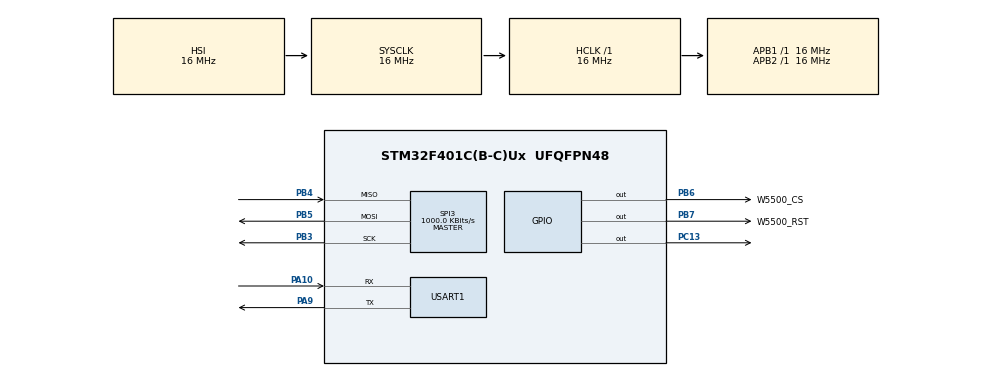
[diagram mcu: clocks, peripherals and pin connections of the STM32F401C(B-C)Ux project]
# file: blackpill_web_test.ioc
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Mcu.Family=STM32F4
Mcu.Name=STM32F401C(B-C)Ux
Mcu.Package=UFQFPN48
NVIC.PriorityGroup=NVIC_PRIORITYGROUP_4
NVIC.USART1_IRQn=true\:0\:0\:false\:false\:true\:true\:true\:true
PA10.Mode=Asynchronous
PA10.Signal=USART1_RX
PA13.Mode=Serial_Wire
PA13.Signal=SYS_JTMS-SWDIO
PA14.Mode=Serial_Wire
PA14.Signal=SYS_JTCK-SWCLK
PA9.Mode=Asynchronous
PA9.Signal=USART1_TX
PB3.Mode=Full_Duplex_Master
PB3.Signal=SPI3_SCK
PB4.Mode=Full_Duplex_Master
PB4.Signal=SPI3_MISO
PB5.Mode=Full_Duplex_Master
PB5.Signal=SPI3_MOSI
PB6.GPIO_Label=W5500_CS
PB6.GPIO_PuPd=GPIO_PULLUP
PB6.PinState=GPIO_PIN_SET
PB6.Signal=GPIO_Output
PB7.GPIO_Label=W5500_RST
PB7.GPIO_PuPd=GPIO_PULLUP
PB7.PinState=GPIO_PIN_SET
PB7.Signal=GPIO_Output
PC13-ANTI_TAMP.Signal=GPIO_Output
ProjectManager.HeapSize=0x200
ProjectManager.StackSize=0x400
ProjectManager.TargetToolchain=STM32CubeIDE
RCC.AHBFreq_Value=16000000
RCC.APB1Freq_Value=16000000
RCC.APB2Freq_Value=16000000
RCC.CortexFreq_Value=16000000
RCC.HSE_VALUE=25000000
RCC.HSI_VALUE=16000000
RCC.LSE_VALUE=32768
RCC.SYSCLKFreq_VALUE=16000000
RCC.VCOOutputFreq_Value=192000000
SPI3.BaudRatePrescaler=SPI_BAUDRATEPRESCALER_16
SPI3.CalculateBaudRate=1000.0 KBits/s
SPI3.Direction=SPI_DIRECTION_2LINES
SPI3.Mode=SPI_MODE_MASTER
SPI3.VirtualType=VM_MASTER
USART1.VirtualMode=VM_ASYNC
board=custom

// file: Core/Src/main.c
/* USER CODE BEGIN Header */
/**
  ******************************************************************************
  * @file           : main.c
  * @brief          : Main program body
  ******************************************************************************
  * @attention
  *
  * Copyright (c) 2026 STMicroelectronics.
  * All rights reserved.
  *
  * This software is licensed under terms that can be found in the LICENSE file
  * in the root directory of this software component.
  * If no LICENSE file comes with this software, it is provided AS-IS.
  *
  ******************************************************************************
  */
/* USER CODE END Header */
#include "main.h"

/* USER CODE BEGIN Includes */

#include "wizchip_conf.h"
#include "w5500/w5500.h"
#include "socket.h"
#include <string.h>
#include <stdio.h>
/* USER CODE END Includes */

SPI_HandleTypeDef hspi3;

UART_HandleTypeDef huart1;

/* USER CODE BEGIN PV */

uint8_t rxByte;
char uartBuf[128];
volatile uint16_t uartPos = 0;

char uartText[128] = "No UART data";

volatile uint8_t w5500_version = 0;

/* USER CODE END PV */

void SystemClock_Config(void);
static void MX_GPIO_Init(void);
static void MX_SPI3_Init(void);
static void MX_USART1_UART_Init(void);

/* USER CODE BEGIN 0 */

uint8_t W5500_ReadVersion(void)
{
    uint8_t tx[3];
    uint8_t version = 0;

    tx[0] = 0x00;
    tx[1] = 0x39;
    tx[2] = 0x00;

    HAL_GPIO_WritePin(GPIOB, GPIO_PIN_6, GPIO_PIN_RESET);

    HAL_SPI_Transmit(&hspi3, tx, 3, HAL_MAX_DELAY);
    HAL_SPI_Receive(&hspi3, &version, 1, HAL_MAX_DELAY);

    HAL_GPIO_WritePin(GPIOB, GPIO_PIN_6, GPIO_PIN_SET);

    return version;
}

static void W5500_Select(void)
{
    HAL_GPIO_WritePin(W5500_CS_GPIO_Port,
                      W5500_CS_Pin,
                      GPIO_PIN_RESET);
}

static void W5500_Deselect(void)
{
    HAL_GPIO_WritePin(W5500_CS_GPIO_Port,
                      W5500_CS_Pin,
                      GPIO_PIN_SET);
}

static uint8_t W5500_ReadByte(void)
{
    uint8_t tx = 0xFF;
    uint8_t rx = 0;

    HAL_SPI_TransmitReceive(&hspi3,
                           &tx,
                           &rx,
                           1,
                           HAL_MAX_DELAY);

    return rx;
}

static void W5500_WriteByte(uint8_t byte)
{
    HAL_SPI_Transmit(&hspi3,
                     &byte,
                     1,
                     HAL_MAX_DELAY);
}

static void W5500_Init(void)
{
    HAL_GPIO_WritePin(W5500_CS_GPIO_Port,
                      W5500_CS_Pin,
                      GPIO_PIN_SET);

    HAL_GPIO_WritePin(W5500_RST_GPIO_Port,
                      W5500_RST_Pin,
                      GPIO_PIN_RESET);

    HAL_Delay(10);

    HAL_GPIO_WritePin(W5500_RST_GPIO_Port,
                      W5500_RST_Pin,
                      GPIO_PIN_SET);

    HAL_Delay(100);

    reg_wizchip_cs_cbfunc(W5500_Select, W5500_Deselect);
    reg_wizchip_spi_cbfunc(W5500_ReadByte, W5500_WriteByte);

    uint8_t tx_size[8] = {4,2,2,2,2,2,2,0};
    uint8_t rx_size[8] = {2,2,2,2,2,2,2,2};

    wizchip_init(tx_size, rx_size);

    wiz_NetInfo netInfo = {
        .mac  = {0x00, 0x08, 0xDC, 0x12, 0x34, 0x56},
        .ip   = {192, 168, 1, 177},
        .sn   = {255, 255, 255, 0},
        .gw   = {192, 168, 1, 1},
        .dns  = {8, 8, 8, 8},
        .dhcp = NETINFO_STATIC
    };

    wizchip_setnetinfo(&netInfo);
}

static uint8_t rx_buffer[512];

static const char web_page[] =
"<!DOCTYPE html>"
"<html>"
"<head>"
"<meta charset='UTF-8'>"
"<meta name='viewport' content='width=device-width,initial-scale=1'>"
"<title>BUREVII BMS</title>"

"<style>"
"body{margin:0;background:#111827;color:#e5e7eb;font-family:Arial,sans-serif;}"
".wrap{max-width:900px;margin:40px auto;padding:20px;}"
"h1{margin-bottom:5px;}"
".sub{color:#9ca3af;margin-bottom:25px;}"
".dot{display:inline-block;width:10px;height:10px;border-radius:50%;"
"background:#22c55e;margin-right:8px;}"

".card{background:#1f2937;border-radius:14px;padding:22px;margin-bottom:16px;"
"box-shadow:0 4px 15px rgba(0,0,0,.25);}"

".label{font-size:14px;color:#9ca3af;}"
".voltage{font-size:48px;font-weight:bold;margin-top:8px;}"
".unit{font-size:24px;color:#9ca3af;}"

"canvas{width:100%;height:300px;display:block;margin-top:20px;}"
"#time{font-size:13px;color:#9ca3af;margin-top:10px;}"
"</style>"
"</head>"

"<body>"
"<div class='wrap'>"

"<h1>BUREVII</h1>"
"<div class='sub'><span class='dot'></span>BMS monitor online</div>"

"<div class='card'>"
"<div class='label'>BATTERY VOLTAGE</div>"
"<div class='voltage'>"
"<span id='voltage'>--.--</span>"
"<span class='unit'> V</span>"
"</div>"
"<div id='time'></div>"
"</div>"

"<div class='card'>"
"<div class='label'>VOLTAGE HISTORY</div>"
"<canvas id='chart'></canvas>"
"</div>"

"</div>"

"<script>"

"const canvas=document.getElementById('chart');"
"const ctx=canvas.getContext('2d');"

"let values=[];"
"const maxPoints=60;"

"function drawChart(){"

" canvas.width=canvas.clientWidth;"
" canvas.height=300;"

" const w=canvas.width;"
" const h=canvas.height;"

" const minV=48;"
" const maxV=54;"

" ctx.clearRect(0,0,w,h);"

" ctx.strokeStyle='#374151';"
" ctx.lineWidth=1;"

" for(let i=0;i<=6;i++){"
"   let y=i*h/6;"
"   ctx.beginPath();"
"   ctx.moveTo(0,y);"
"   ctx.lineTo(w,y);"
"   ctx.stroke();"
" }"

" if(values.length<2)return;"

" ctx.strokeStyle='#22c55e';"
" ctx.lineWidth=3;"
" ctx.beginPath();"

" values.forEach((v,i)=>{"

"   const x=i*(w/(maxPoints-1));"
"   const y=h-(v-minV)/(maxV-minV)*h;"

"   if(i===0)ctx.moveTo(x,y);"
"   else ctx.lineTo(x,y);"

" });"

" ctx.stroke();"
"}"

"async function updateData(){"

" try{"

"   const response=await fetch('/data',{cache:'no-store'});"
"   const text=await response.text();"

"   if(text.startsWith('V:')){"

"     const v=parseFloat(text.substring(2));"

"     if(!isNaN(v)){"

"       document.getElementById('voltage').textContent=v.toFixed(2);"

"       values.push(v);"

"       if(values.length>maxPoints)"
"         values.shift();"

"       drawChart();"

"       document.getElementById('time').textContent="
"         'Updated: '+new Date().toLocaleTimeString();"
"     }"
"   }"

" }catch(e){}"
"}"

"updateData();"
"setInterval(updateData,500);"

"</script>"

"</body>"
"</html>";

static void WebServer_Run(void)
{
    uint8_t sn = 0;

    switch (getSn_SR(sn))
    {
        case SOCK_CLOSED:
            socket(sn, Sn_MR_TCP, 80, 0);
            break;

        case SOCK_INIT:
            listen(sn);
            break;

        case SOCK_ESTABLISHED:
        {
            uint16_t len = getSn_RX_RSR(sn);

            if (len > 0)
            {
                if (len >= sizeof(rx_buffer))
                    len = sizeof(rx_buffer) - 1;

                int32_t received = recv(sn, rx_buffer, len);

                if (received > 0)
                {
                    rx_buffer[received] = '\0';

                    /* запит актуальних UART-даних */
                    if (strncmp((char *)rx_buffer, "GET /data ", 10) == 0)
                    {
                        char response[256];

                        int n = snprintf(
                            response,
                            sizeof(response),
                            "HTTP/1.1 200 OK\r\n"
                            "Content-Type: text/plain\r\n"
                            "Cache-Control: no-cache, no-store\r\n"
                            "Connection: close\r\n"
                            "\r\n"
                            "%s",
                            uartText
                        );

                        send(sn, (uint8_t *)response, n);
                    }

                    /* основна сторінка */
                    else
                    {
                        static const char header[] =
                            "HTTP/1.1 200 OK\r\n"
                            "Content-Type: text/html\r\n"
                            "Cache-Control: no-cache, no-store\r\n"
                            "Connection: close\r\n"
                            "\r\n";

                        send(sn,
                             (uint8_t *)header,
                             strlen(header));

                        send(sn,
                             (uint8_t *)web_page,
                             strlen(web_page));
                    }

                    disconnect(sn);
                }
            }

            break;
        }

        case SOCK_CLOSE_WAIT:
            disconnect(sn);
            break;
    }
}

/* USER CODE END 0 */

int main(void)
{

  /* MCU Configuration--------------------------------------------------------*/

  /* Reset of all peripherals, Initializes the Flash interface and the Systick. */
  HAL_Init();

  /* Configure the system clock */
  SystemClock_Config();

  /* Initialize all configured peripherals */
  MX_GPIO_Init();
  MX_SPI3_Init();
  MX_USART1_UART_Init();
  /* USER CODE BEGIN 2 */

  W5500_Init();

  volatile uint8_t version = getVERSIONR();

  HAL_UART_Receive_IT(&huart1, &rxByte, 1);

  /* USER CODE END 2 */

  /* Infinite loop */
  while (1)
  {

    /* USER CODE BEGIN 3 */

	  WebServer_Run();
  }
  /* USER CODE END 3 */
}

void SystemClock_Config(void)
{
  RCC_OscInitTypeDef RCC_OscInitStruct = {0};
  RCC_ClkInitTypeDef RCC_ClkInitStruct = {0};

  /** Configure the main internal regulator output voltage
  */
  __HAL_RCC_PWR_CLK_ENABLE();
  __HAL_PWR_VOLTAGESCALING_CONFIG(PWR_REGULATOR_VOLTAGE_SCALE2);

  /** Initializes the RCC Oscillators according to the specified parameters
  * in the RCC_OscInitTypeDef structure.
  */
  RCC_OscInitStruct.OscillatorType = RCC_OSCILLATORTYPE_HSI;
  RCC_OscInitStruct.HSIState = RCC_HSI_ON;
  RCC_OscInitStruct.HSICalibrationValue = RCC_HSICALIBRATION_DEFAULT;
  RCC_OscInitStruct.PLL.PLLState = RCC_PLL_NONE;
  if (HAL_RCC_OscConfig(&RCC_OscInitStruct) != HAL_OK)
  {
    Error_Handler();
  }

  /** Initializes the CPU, AHB and APB buses clocks
  */
  RCC_ClkInitStruct.ClockType = RCC_CLOCKTYPE_HCLK|RCC_CLOCKTYPE_SYSCLK
                              |RCC_CLOCKTYPE_PCLK1|RCC_CLOCKTYPE_PCLK2;
  RCC_ClkInitStruct.SYSCLKSource = RCC_SYSCLKSOURCE_HSI;
  RCC_ClkInitStruct.AHBCLKDivider = RCC_SYSCLK_DIV1;
  RCC_ClkInitStruct.APB1CLKDivider = RCC_HCLK_DIV1;
  RCC_ClkInitStruct.APB2CLKDivider = RCC_HCLK_DIV1;

  if (HAL_RCC_ClockConfig(&RCC_ClkInitStruct, FLASH_LATENCY_0) != HAL_OK)
  {
    Error_Handler();
  }
}

static void MX_SPI3_Init(void)
{

  /* SPI3 parameter configuration*/
  hspi3.Instance = SPI3;
  hspi3.Init.Mode = SPI_MODE_MASTER;
  hspi3.Init.Direction = SPI_DIRECTION_2LINES;
  hspi3.Init.DataSize = SPI_DATASIZE_8BIT;
  hspi3.Init.CLKPolarity = SPI_POLARITY_LOW;
  hspi3.Init.CLKPhase = SPI_PHASE_1EDGE;
  hspi3.Init.NSS = SPI_NSS_SOFT;
  hspi3.Init.BaudRatePrescaler = SPI_BAUDRATEPRESCALER_16;
  hspi3.Init.FirstBit = SPI_FIRSTBIT_MSB;
  hspi3.Init.TIMode = SPI_TIMODE_DISABLE;
  hspi3.Init.CRCCalculation = SPI_CRCCALCULATION_DISABLE;
  hspi3.Init.CRCPolynomial = 10;
  if (HAL_SPI_Init(&hspi3) != HAL_OK)
  {
    Error_Handler();
  }

}

static void MX_USART1_UART_Init(void)
{

  huart1.Instance = USART1;
  huart1.Init.BaudRate = 115200;
  huart1.Init.WordLength = UART_WORDLENGTH_8B;
  huart1.Init.StopBits = UART_STOPBITS_1;
  huart1.Init.Parity = UART_PARITY_NONE;
  huart1.Init.Mode = UART_MODE_TX_RX;
  huart1.Init.HwFlowCtl = UART_HWCONTROL_NONE;
  huart1.Init.OverSampling = UART_OVERSAMPLING_16;
  if (HAL_UART_Init(&huart1) != HAL_OK)
  {
    Error_Handler();
  }

}

static void MX_GPIO_Init(void)
{
  GPIO_InitTypeDef GPIO_InitStruct = {0};

  /* GPIO Ports Clock Enable */
  __HAL_RCC_GPIOC_CLK_ENABLE();
  __HAL_RCC_GPIOA_CLK_ENABLE();
  __HAL_RCC_GPIOB_CLK_ENABLE();

  /*Configure GPIO pin Output Level */
  HAL_GPIO_WritePin(GPIOC, GPIO_PIN_13, GPIO_PIN_RESET);

  /*Configure GPIO pin Output Level */
  HAL_GPIO_WritePin(GPIOB, W5500_CS_Pin|W5500_RST_Pin, GPIO_PIN_SET);

  /*Configure GPIO pin : PC13 */
  GPIO_InitStruct.Pin = GPIO_PIN_13;
  GPIO_InitStruct.Mode = GPIO_MODE_OUTPUT_PP;
  GPIO_InitStruct.Pull = GPIO_NOPULL;
  GPIO_InitStruct.Speed = GPIO_SPEED_FREQ_LOW;
  HAL_GPIO_Init(GPIOC, &GPIO_InitStruct);

  /*Configure GPIO pins : W5500_CS_Pin W5500_RST_Pin */
  GPIO_InitStruct.Pin = W5500_CS_Pin|W5500_RST_Pin;
  GPIO_InitStruct.Mode = GPIO_MODE_OUTPUT_PP;
  GPIO_InitStruct.Pull = GPIO_PULLUP;
  GPIO_InitStruct.Speed = GPIO_SPEED_FREQ_LOW;
  HAL_GPIO_Init(GPIOB, &GPIO_InitStruct);

}

/* USER CODE BEGIN 4 */
void HAL_UART_RxCpltCallback(UART_HandleTypeDef *huart)
{
    if (huart == &huart1)
    {
        if (rxByte == '\r' || rxByte == '\n')
        {
            if (uartPos > 0)
            {
                uartBuf[uartPos] = '\0';
                strcpy(uartText, uartBuf);
                uartPos = 0;
            }
        }
        else if (uartPos < sizeof(uartBuf) - 1)
        {
            uartBuf[uartPos++] = rxByte;
        }

        HAL_UART_Receive_IT(&huart1, &rxByte, 1);
    }
}

/* USER CODE END 4 */

void Error_Handler(void)
{
  __disable_irq();
  while (1)
  {
  }
}
